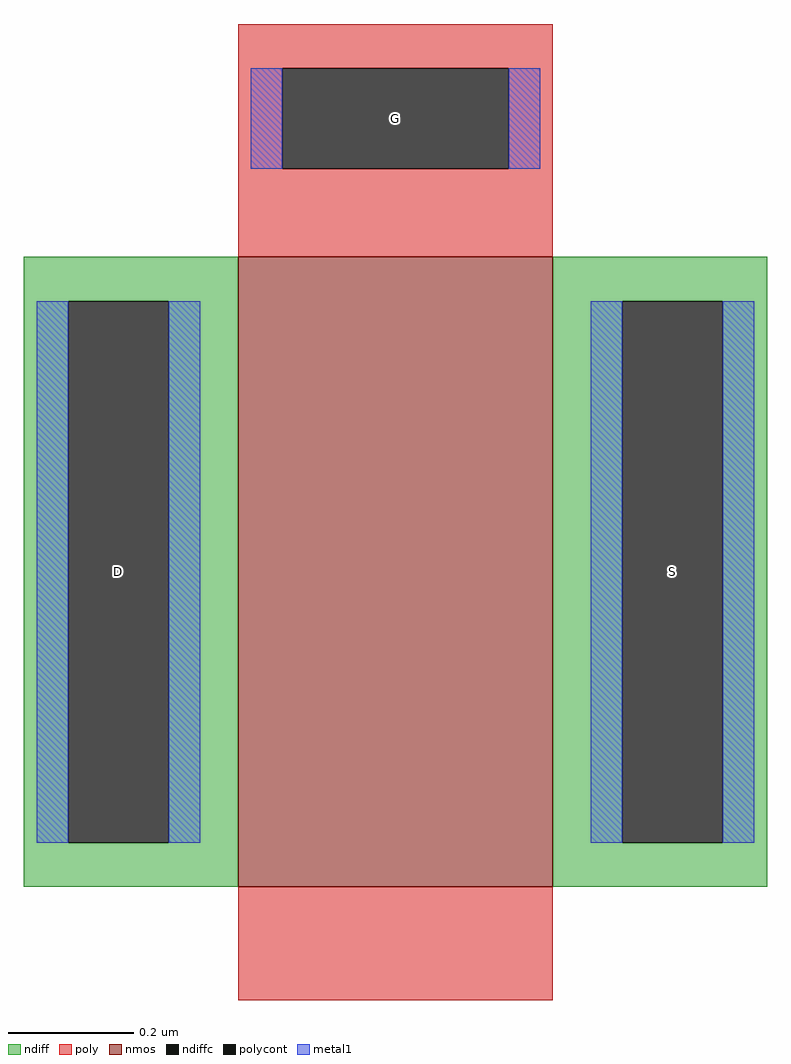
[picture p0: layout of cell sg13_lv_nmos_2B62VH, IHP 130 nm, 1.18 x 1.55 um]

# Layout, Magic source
magic
tech ihp-sg13g2
magscale 1 2
<< nmos >>
rect -50 -119 50 81
<< ndiff >>
rect -118 67 -50 81
rect -118 -105 -104 67
rect -72 -105 -50 67
rect -118 -119 -50 -105
rect 50 67 118 81
rect 50 -105 72 67
rect 104 -105 118 67
rect 50 -119 118 -105
<< ndiffc >>
rect -104 -105 -72 67
rect 72 -105 104 67
<< poly >>
rect -50 141 50 155
rect -50 109 -36 141
rect 36 109 50 141
rect -50 81 50 109
rect -50 -155 50 -119
<< polycont >>
rect -36 109 36 141
<< metal1 >>
rect -46 109 -36 141
rect 36 109 46 141
rect -114 -105 -104 67
rect -72 -105 -62 67
rect 62 -105 72 67
rect 104 -105 114 67
<< labels >>
rlabel ndiffc -88 -19 -88 -19 0 D
port 1 nsew
rlabel ndiffc 88 -19 88 -19 0 S
port 2 nsew
rlabel polycont 0 125 0 125 0 G
port 3 nsew
<< properties >>
string gencell sg13_lv_nmos
string library sg13g2
string parameters w 1 l 0.5 m 1 nf 1 diffcov 100 polycov 100 guard 0 glc 1 grc 1 gtc 1 gbc 1 tbcov 100 rlcov 100 topc 1 botc 0 poverlap 0 doverlap 1 lmin 0.13 wmin 0.15 class mosfet compatible {sg13_lv_nmos sg13_hv_nmos} full_metal 1 conn_gates 0 gate_ring 0 doports 1 viasrc 0 viadrn 0 viagate 0 ccols 1 viagb 0 viagr 0 viagl 0 viagt 0
<< end >>
